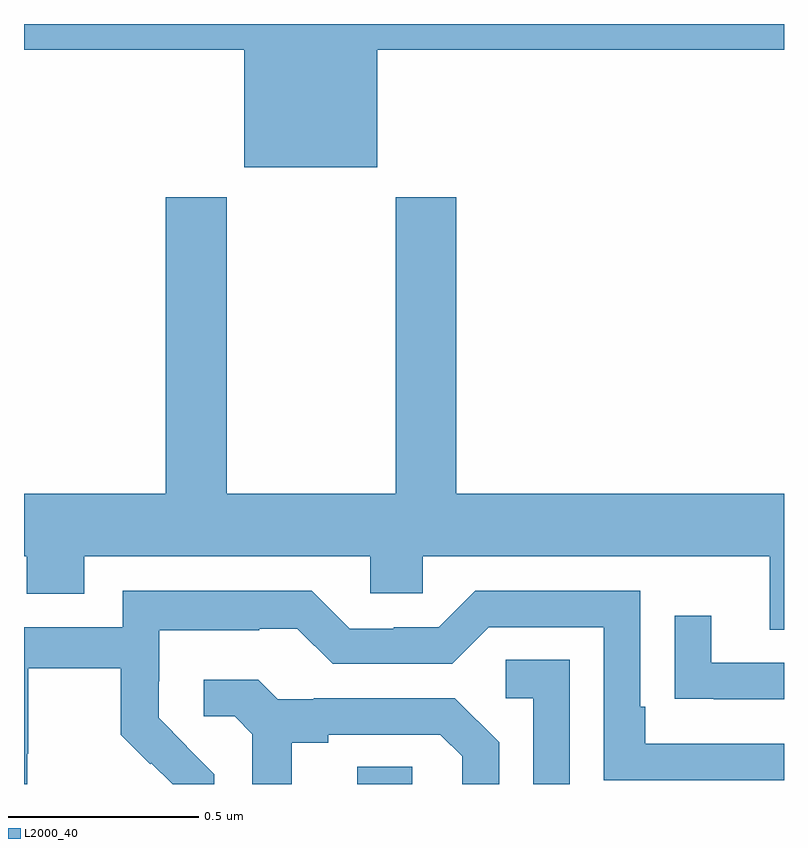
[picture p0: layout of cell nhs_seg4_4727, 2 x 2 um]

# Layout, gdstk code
import gdstk
lib = gdstk.Library(unit=1e-6, precision=1e-09)
def R(c, l, rs):  # rectangles x0, y0, x1, y1
    for r in rs: c.add(gdstk.rectangle(r[:2], r[2:], *l))
def P(c, l, *ps):  # polygons
    for p in ps: c.add(gdstk.Polygon(p, *l))
L2000_40 = (2000, 40)

nhs_seg4_4727 = lib.new_cell('nhs_seg4_4727')
R(nhs_seg4_4727, L2000_40, [(169.877,782.9,170.022,782.945)])
P(nhs_seg4_4727, L2000_40, [(169.93,784.832),(171,784.832),(171,784.9),(169,784.9),(169,784.832),(169.58,784.832),(169.58,784.523),(169.93,784.523)],
  [(171,783.664),(170.138,783.664),(170.138,784.444),(169.978,784.444),(169.978,783.664),(169.533,783.664),(169.533,784.444),(169.373,784.444),(169.373,783.664),(169,783.664),(169,783.5),(169.007,783.5),(169.007,783.401),(169.159,783.401),(169.159,783.5),(169.911,783.5),(169.911,783.402),(170.049,783.402),(170.049,783.5),(170.963,783.5),(170.963,783.306),(171,783.306)],
  [(169.008,782.98),(169.011,782.98),(169.011,783.204),(169.255,783.204),(169.255,783.029),(169.332,782.952),(169.335,782.955),(169.391,782.9),(169.5,782.9),(169.5,782.926),(169.427,782.999),(169.428,783),(169.354,783.074),(169.354,783.171),(169.356,783.171),(169.356,783.305),(169.619,783.305),(169.619,783.309),(169.719,783.309),(169.812,783.216),(170.127,783.216),(170.223,783.312),(170.526,783.312),(170.526,782.91),(171,782.91),(171,783.006),(170.635,783.006),(170.635,783.103),(170.622,783.103),(170.622,783.408),(170.187,783.408),(170.091,783.312),(169.973,783.312),(169.973,783.309),(169.857,783.309),(169.757,783.409),(169.26,783.409),(169.26,783.312),(169,783.312),(169,782.9),(169.008,782.9)],
  [(171,783.219),(170.809,783.219),(170.809,783.343),(170.713,783.343),(170.713,783.124),(170.815,783.124),(170.815,783.123),(171,783.123)],
  [(170.436,783.227),(170.268,783.227),(170.268,783.126),(170.34,783.126),(170.34,782.9),(170.436,782.9)],
  [(169.705,783.008),(169.801,783.008),(169.801,783.03),(170.096,783.03),(170.153,782.973),(170.153,782.9),(170.25,782.9),(170.25,783.01),(170.134,783.126),(169.762,783.126),(169.762,783.123),(169.668,783.123),(169.616,783.175),(169.473,783.175),(169.473,783.078),(169.554,783.078),(169.601,783.031),(169.601,782.9),(169.705,782.9)])

lib.write_gds('nhs_seg4_4727.gds')
